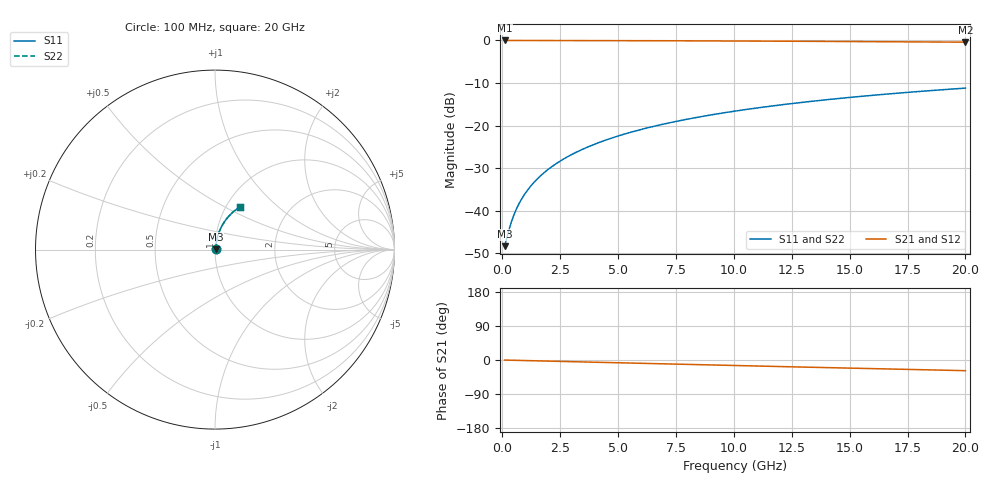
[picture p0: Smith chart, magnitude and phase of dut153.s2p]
! Touchstone file exported from HFSS 2026.1.0
!  File:  C:/ffzhzh/LocalFiles/Ansys_Project_Files/temp_train_BSMRDL_153_1782986646_42984.aedt
!  Generated:  06:05:20 PM Jul  2, 2026
!  Design:  BSMRDL
!  Project:  temp_train_BSMRDL_153_1782986646_42984
! Variables:
!  h_bsmrdl = 2.64um
!  h_ox = 20um
!  h_rdl = 5um
!  h_sub = 80um
!  h_tmrdl = 5um
!  h_tsv = 80um
!  h_via = 3um
!  l_bsmrdl = 391.87um
!  l_sub = 791.87um
!  l_tmrdl = 200um
!  m_sub = 200um
!  pitch = 35.8um
!  r_tsv = 6um
!  s_tmrdl = 10um
!  w_bsmrdl = 16.19um
!  w_sub = 500um
!  w_tmrdl = 12um
!  x_tsv_center1 = 206um
!  x_tsv_center2 = 614.06um
!  x_tsv_center3 = 826.06um
!  x_tsv_center4 = 1234.12um
!  x_tsv_center5 = 1446.12um
!  x_tsv_center6 = 1854.18um
# GHz S MA R 50.000000
! Terminal data exported
! Port[1] = BSM_RDL1_1_T1
! Port[2] = BSM_RDL1_1_T2
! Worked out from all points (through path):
!   200 points, 100 MHz to 20 GHz, reference 50 ohm
!   highest |S21| = -0.03 dB at 100 MHz (marker M1); lowest = -0.4 dB at 20 GHz (marker M2)
!   group delay of S21, straight-line fit = 3.92 ps
!   lowest |S11| = -48.3 dB at 100 MHz (marker M3), VSWR 1.01, Z = 50.3 + j0.167 ohm
!   |S11| at or under -10 dB: start of sweep to end of sweep
!   |S22| runs from -48.3 to -11.2 dB; largest |S21 - S12| = 3.5e-15
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0.1  0.00384 25.6  0.9965 -0.2  0.9965 -0.2  0.00384 25.6
! Gamma 0 0 0 0
! Port Impedance 50 0 50 0
0.3  0.00611 53.3  0.9964 -0.5  0.9964 -0.5  0.00611 53.3
0.4  0.007492 59.6  0.9963 -0.6  0.9963 -0.6  0.007492 59.6
0.5  0.008914 63.9  0.9962 -0.8  0.9962 -0.8  0.008914 63.9
0.6  0.01035 66.9  0.996 -0.9  0.996 -0.9  0.01035 66.9
0.7  0.01179 69.2  0.996 -1.1  0.996 -1.1  0.01179 69.2
0.9  0.01469 72.4  0.9958 -1.4  0.9958 -1.4  0.01469 72.4
1.2  0.01906 75.3  0.9956 -1.8  0.9956 -1.8  0.01906 75.3
1.4  0.02199 76.6  0.9955 -2.1  0.9955 -2.1  0.02199 76.6
1.7  0.02641 77.9  0.9953 -2.5  0.9953 -2.5  0.02641 77.9
2.2  0.03383 79.1  0.9949 -3.3  0.9949 -3.3  0.03383 79.1
2.8  0.04275 79.7  0.9945 -4.1  0.9945 -4.1  0.04275 79.6
3.5  0.05316 79.7  0.9938 -5.2  0.9938 -5.2  0.05316 79.7
4.2  0.06355 79.3  0.993 -6.2  0.993 -6.2  0.06355 79.3
5  0.07537 78.7  0.992 -7.3  0.992 -7.3  0.07537 78.7
5.9  0.08857 77.8  0.9906 -8.6  0.9906 -8.6  0.08857 77.8
6.8  0.1017 76.8  0.9891 -9.9  0.9891 -9.9  0.1017 76.8
8.3  0.1232 75.0  0.9861 -12.1  0.9861 -12.1  0.1232 75.0
10.1  0.1484 72.7  0.982 -14.6  0.982 -14.6  0.1484 72.7
13.4  0.193 68.3  0.9731 -19.3  0.9731 -19.3  0.193 68.3
16.7  0.2352 64.0  0.9628 -23.8  0.9628 -23.8  0.2352 64.0
20  0.2748 59.8  0.9515 -28.2  0.9515 -28.2  0.2748 59.8
